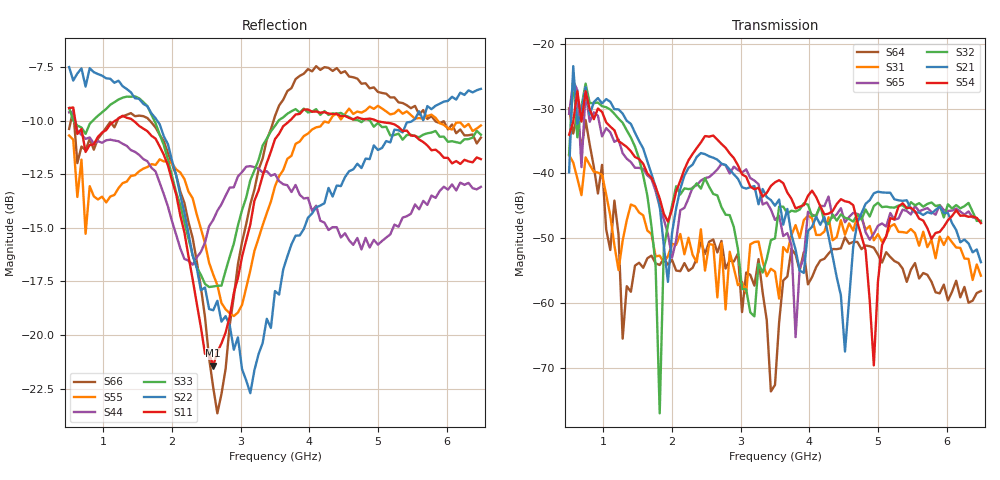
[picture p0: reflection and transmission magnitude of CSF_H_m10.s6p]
!Keysight Technologies,M9804A,MY58100912,A.14.10.03
!Date: Thursday, April 27, 2023 10:28:33
!Correction: S11(C  6-Port  )
!S12(C  6-Port  )
!S13(C  6-Port  )
!S14(C  6-Port  )
!S15(C  6-Port  )
!S16(C  6-Port  )
!S21(C  6-Port  )
!S22(C  6-Port  )
!S23(C  6-Port  )
!S24(C  6-Port  )
!S25(C  6-Port  )
!S26(C  6-Port  )
!S31(C  6-Port  )
!S32(C  6-Port  )
!S33(C  6-Port  )
!S34(C  6-Port  )
!S35(C  6-Port  )
!S36(C  6-Port  )
!S41(C  6-Port  )
!S42(C  6-Port  )
!S43(C  6-Port  )
!S44(C  6-Port  )
!S45(C  6-Port  )
!S46(C  6-Port  )
!S51(C  6-Port  )
!S52(C  6-Port  )
!S53(C  6-Port  )
!S54(C  6-Port  )
!S55(C  6-Port  )
!S56(C  6-Port  )
!S61(C  6-Port  )
!S62(C  6-Port  )
!S63(C  6-Port  )
!S64(C  6-Port  )
!S65(C  6-Port  )
!S66(C  6-Port  )
!S6P File: Measurement: :
# Hz S  RI  R 50
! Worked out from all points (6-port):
!   101 points, 500 MHz to 6.5 GHz, reference 50 ohm
!   strongest paths, dB at 500 MHz, 2 GHz, 3.5 GHz, 5 GHz, 6.5 GHz:
!     S54: -34.0, -45.5, -41.4, -56.7, -47.7
!     S21: -39.8, -49.2, -45.0, -42.8, -53.7
!     S32: -37.1, -44.9, -50.0, -44.5, -47.3
!     S65: -30.8, -53.0, -47.2, -48.1, -47.5
!     S31: -37.2, -50.9, -55.2, -49.4, -55.8
!     S64: -30.0, -53.4, -72.7, -52.6, -58.2
!   lowest |S11| = -21.4 dB at 2.6 GHz (marker M1), VSWR 1.19, Z = 42.5 + j2.18 ohm
!   |S11| at or under -10 dB: 589.7 MHz to 1.173 GHz (583.5 MHz wide, 66.2 % of centre); 1.434 GHz to 3.716 GHz (2.282 GHz wide, 88.6 % of centre); 4.974 GHz to end of sweep
